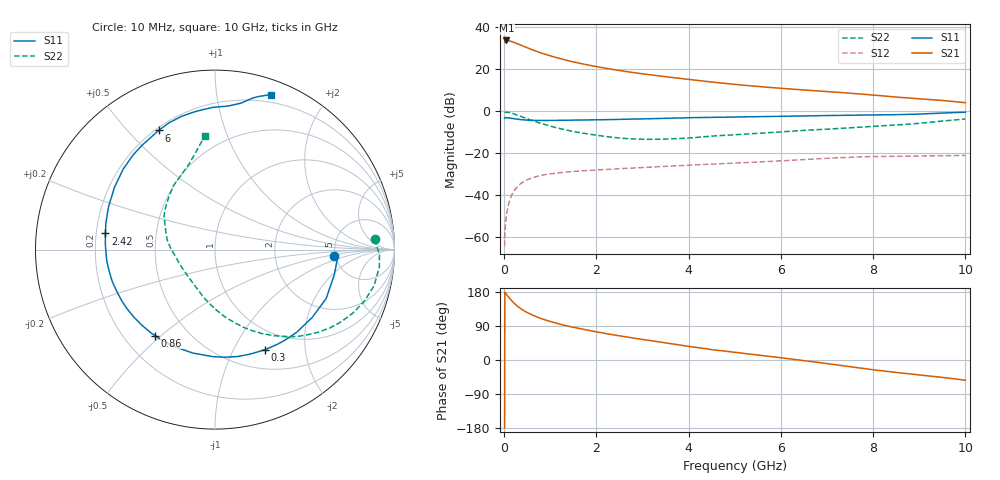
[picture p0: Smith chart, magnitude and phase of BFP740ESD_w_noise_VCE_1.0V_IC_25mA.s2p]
! Infineon Technologies  Discrete & RF Semiconductors
! BFP740ESD
! VCE =  1.0 V,  IC =  25 mA
! Common Emitter S-Parameters:  Jan 2016
# GHz  S  MA  R  50
!  f  S11  S21  S12  S22
! GHz  MAG  ANG  MAG  ANG  MAG  ANG  MAG  ANG
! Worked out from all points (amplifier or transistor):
!   233 points, 10 MHz to 10 GHz, reference 50 ohm
!   highest |S21| = 33.4 dB at 50 MHz (marker M1)
!   |S21| within 3 dB of that: start of sweep to 442.7 MHz
!   unconditionally stable (mu >= 1): start of sweep to 16.83 MHz; 3.406 GHz to 9.209 GHz
!   at 200 MHz: K = 0.22, MSG = 35.6 dB, |S12| = -38.6 dB
!   at 1.74 GHz: K = 0.69, MSG = 25.3 dB, |S12| = -28.5 dB
!   at 10 GHz: K = 0.77, MSG = 12.5 dB, |S12| = -21.3 dB
!   lowest NFmin = 0.88 dB at 450 MHz
!   S11 on the Smith chart (normalised r, x): 10 MHz: 4.83, -0.64; 300 MHz: 0.74, -1.34; 860 MHz: 0.33, -0.48; 2.42 GHz: 0.24, +0.07; 6 GHz: 0.21, +0.61; 10 GHz: 0.13, +1.42
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0.01  0.6621 -3.2  42.4 -179.1  0.0006 74.7  0.8913 3.7
0.02  0.6826 -5.3  46.28 177.9  0.0014 82.7  0.9169 -1.8
0.05  0.6792 -11.9  46.72 173.1  0.0033 78.1  0.9209 -6.0
0.1  0.6768 -23.8  46.44 165.3  0.0062 76.2  0.909 -12.8
0.165  0.6542 -38.0  43.81 156.2  0.0099 71.4  0.8694 -20.7
0.24  0.6371 -52.6  41 147.0  0.0135 65.9  0.8175 -28.6
0.3  0.6236 -63.3  38.42 140.7  0.0162 62.0  0.7745 -34.3
0.4  0.6088 -78.2  34.7 132.2  0.0198 56.4  0.7043 -42.2
0.45  0.6019 -85.0  32.81 128.5  0.0213 54.1  0.6726 -45.9
0.6  0.5895 -102.1  28.33 119.1  0.0252 47.8  0.5862 -55.0
0.7  0.5857 -111.9  25.77 114.0  0.0272 44.7  0.5386 -60.5
0.86  0.5842 -124.8  22.46 107.0  0.0298 40.5  0.4754 -67.9
1  0.5863 -134.5  20.11 101.5  0.0315 37.6  0.4287 -74.1
1.2  0.5905 -145.9  17.45 94.8  0.0335 34.5  0.3767 -81.9
1.68  0.6004 -166.2  13.1 81.7  0.0371 29.9  0.2951 -97.5
2.42  0.6174 171.6  9.306 65.3  0.0412 26.4  0.2282 -120.6
3.4  0.6534 150.2  6.615 47.0  0.0468 23.9  0.2097 -152.3
5.1  0.7102 124.3  4.112 18.7  0.0573 18.7  0.2735 167.5
6  0.7342 115.3  3.404 5.8  0.064 15.9  0.3135 152.9
6.8  0.759 106.4  2.946 -6.3  0.0717 11.1  0.3539 141.9
8.4  0.8003 85.9  2.152 -31.4  0.0819 -2.7  0.4492 116.0
10  0.9191 70.0  1.547 -53.4  0.0861 -14.1  0.6343 95.2
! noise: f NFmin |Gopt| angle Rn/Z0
0.45  0.88  0.07  -171  0.16
0.9  0.9  0.09  -160  0.09
1.9  0.94  0.12  -147  0.11
2.4  0.98  0.17  -133  0.12
5.5  1.13  0.34  -114  0.14
10  1.7  0.57  -84  0.59
